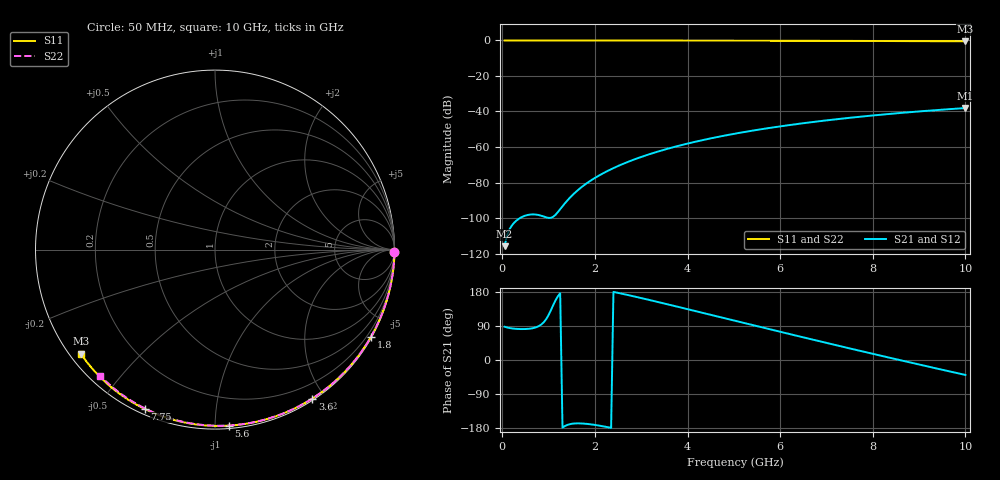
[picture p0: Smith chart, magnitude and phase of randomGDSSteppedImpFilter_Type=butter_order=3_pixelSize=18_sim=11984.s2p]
! freq	dB(S11)	phase(S11)	dB(S12)	phase(S12)
!  dB(S21)	phase(S21)	dB(S22)	phase(S22)
!S-par simulation data
#  GHz  S  DB  R 50
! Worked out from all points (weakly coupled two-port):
!   200 points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, 50 MHz to 10 GHz, reference 50 ohm
!   highest |S21| = -38.07 dB at 10 GHz (marker M1); lowest = -115.8 dB at 50 MHz (marker M2)
!   lowest |S11| = -0.5 dB at 10 GHz (marker M3), VSWR 36.09, Z = 1.55 - j17.1 ohm
!   |S11| at or under -10 dB: nowhere
!   |S22| runs from -0.4 to 0.0 dB; largest |S21 - S12| = 0
!   S11 on the Smith chart (normalised r, x): 50 MHz: open; 1.8 GHz: 0.03, -3.85; 3.6 GHz: 0.02, -1.85; 5.6 GHz: 0.02, -1.08; 7.75 GHz: 0.02, -0.65; 10 GHz: 0.03, -0.34
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0.05  -0.00 -0.8  -115.84 87.8  -115.84 87.8  -0.00 -0.8
0.45  -0.01 -7.4  -99.09 81.6  -99.09 81.6  -0.01 -6.9
0.9  -0.02 -14.7  -99.20 100.3  -99.20 100.3  -0.02 -13.7
1.75  -0.04 -28.3  -81.81 -167.8  -81.81 -167.8  -0.03 -26.4
1.8  -0.04 -29.1  -80.85 -168.3  -80.85 -168.3  -0.03 -27.1
1.85  -0.04 -29.9  -79.93 -168.9  -79.93 -168.9  -0.04 -27.9
2  -0.04 -32.3  -77.41 -171.3  -77.41 -171.3  -0.04 -30.1
2.15  -0.04 -34.6  -75.17 -174.4  -75.17 -174.4  -0.04 -32.3
2.35  -0.05 -37.8  -72.50 -179.1  -72.50 -179.1  -0.04 -35.2
2.55  -0.05 -40.9  -70.12 175.8  -70.12 175.8  -0.05 -38.1
2.95  -0.06 -47.0  -66.05 164.9  -66.05 164.9  -0.06 -43.8
3.4  -0.07 -53.8  -62.25 151.9  -62.25 151.9  -0.07 -50.2
3.6  -0.08 -56.8  -60.76 146.1  -60.76 146.1  -0.07 -53.0
4.3  -0.09 -67.1  -56.26 125.2  -56.26 125.2  -0.09 -62.7
5.05  -0.12 -77.8  -52.36 102.8  -52.36 102.8  -0.11 -72.7
5.6  -0.14 -85.4  -49.95 86.4  -49.95 86.4  -0.13 -79.8
6.15  -0.17 -92.9  -47.82 70.1  -47.82 70.1  -0.15 -86.8
6.7  -0.19 -100.2  -45.94 53.9  -45.94 53.9  -0.18 -93.7
7.75  -0.26 -113.8  -42.88 23.4  -42.88 23.4  -0.24 -106.3
8.35  -0.31 -121.4  -41.39 6.4  -41.39 6.4  -0.29 -113.4
9.2  -0.39 -132.1  -39.55 -17.5  -39.55 -17.5  -0.36 -123.2
10  -0.48 -142.2  -38.07 -39.4  -38.07 -39.4  -0.44 -132.3
